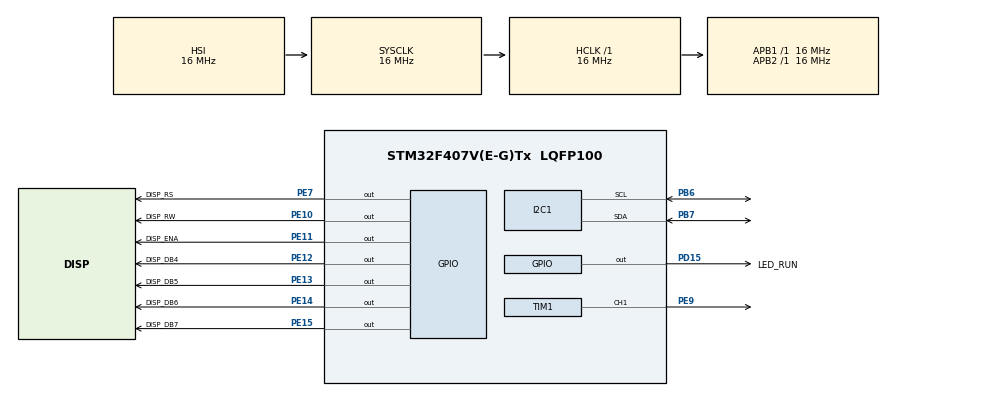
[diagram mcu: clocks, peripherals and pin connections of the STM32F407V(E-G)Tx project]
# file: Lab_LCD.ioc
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Mcu.Family=STM32F4
Mcu.Name=STM32F407V(E-G)Tx
Mcu.Package=LQFP100
NVIC.PriorityGroup=NVIC_PRIORITYGROUP_4
PA13.Mode=Serial_Wire
PA13.Signal=SYS_JTMS-SWDIO
PA14.Mode=Serial_Wire
PA14.Signal=SYS_JTCK-SWCLK
PB6.Mode=I2C
PB6.Signal=I2C1_SCL
PB7.Mode=I2C
PB7.Signal=I2C1_SDA
PD15.GPIO_Label=LED_RUN
PD15.Signal=GPIO_Output
PE10.GPIO_Label=DISP_RW
PE10.GPIO_Speed=GPIO_SPEED_FREQ_VERY_HIGH
PE10.Signal=GPIO_Output
PE11.GPIO_Label=DISP_ENA
PE11.GPIO_Speed=GPIO_SPEED_FREQ_VERY_HIGH
PE11.Signal=GPIO_Output
PE12.GPIO_Label=DISP_DB4
PE12.GPIO_Speed=GPIO_SPEED_FREQ_VERY_HIGH
PE12.Signal=GPIO_Output
PE13.GPIO_Label=DISP_DB5
PE13.GPIO_Speed=GPIO_SPEED_FREQ_VERY_HIGH
PE13.Signal=GPIO_Output
PE14.GPIO_Label=DISP_DB6
PE14.GPIO_Speed=GPIO_SPEED_FREQ_VERY_HIGH
PE14.Signal=GPIO_Output
PE15.GPIO_Label=DISP_DB7
PE15.GPIO_Speed=GPIO_SPEED_FREQ_VERY_HIGH
PE15.Signal=GPIO_Output
PE7.GPIO_Label=DISP_RS
PE7.GPIO_Speed=GPIO_SPEED_FREQ_VERY_HIGH
PE7.Signal=GPIO_Output
PE9.Signal=S_TIM1_CH1
PH0-OSC_IN.Mode=HSE-External-Oscillator
PH0-OSC_IN.Signal=RCC_OSC_IN
PH1-OSC_OUT.Mode=HSE-External-Oscillator
PH1-OSC_OUT.Signal=RCC_OSC_OUT
ProjectManager.HeapSize=0x200
ProjectManager.StackSize=0x400
ProjectManager.TargetToolchain=MDK-ARM V5.32
RCC.48MHZClocksFreq_Value=84000000
RCC.AHBFreq_Value=16000000
RCC.APB1Freq_Value=16000000
RCC.APB1TimFreq_Value=16000000
RCC.APB2Freq_Value=16000000
RCC.APB2TimFreq_Value=16000000
RCC.CortexFreq_Value=16000000
RCC.HCLKFreq_Value=16000000
RCC.HSE_VALUE=25000000
RCC.HSI_VALUE=16000000
RCC.LSE_VALUE=32768
RCC.PLLM=25
RCC.PLLN=336
RCC.PLLSourceVirtual=RCC_PLLSOURCE_HSE
RCC.SYSCLKFreq_VALUE=16000000
RCC.VCOOutputFreq_Value=336000000
SH.S_TIM1_CH1.0=TIM1_CH1,PWM Generation1 CH1
TIM1.Channel-PWM\ Generation1\ CH1=TIM_CHANNEL_1
TIM1.Period=1000-1
TIM1.Prescaler=16-1
TIM6.Prescaler=16-1
VP_TIM6_VS_ClockSourceINT.Mode=Enable_Timer
VP_TIM6_VS_OPM.Mode=OPM_bit
board=custom

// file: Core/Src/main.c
/* USER CODE BEGIN Header */
/**
  ******************************************************************************
  * @file           : main.c
  * @brief          : Main program body
  ******************************************************************************
  * @attention
  *
  * Copyright (c) 2022 STMicroelectronics.
  * All rights reserved.
  *
  * This software is licensed under terms that can be found in the LICENSE file
  * in the root directory of this software component.
  * If no LICENSE file comes with this software, it is provided AS-IS.
  *
  ******************************************************************************
  */
/* USER CODE END Header */
#include "main.h"
#include "i2c.h"
#include "tim.h"
#include "gpio.h"

/* USER CODE BEGIN Includes */
#include "lcd.h"
/* USER CODE END Includes */

void SystemClock_Config(void);

int main(void)
{

  /* MCU Configuration--------------------------------------------------------*/

  /* Reset of all peripherals, Initializes the Flash interface and the Systick. */
  HAL_Init();

  /* Configure the system clock */
  SystemClock_Config();

  /* Initialize all configured peripherals */
  MX_GPIO_Init();
  MX_TIM1_Init();
  MX_TIM6_Init();
  MX_I2C1_Init();
  /* USER CODE BEGIN 2 */
  lcd_init();
  /* USER CODE END 2 */

  /* Infinite loop */
  /* USER CODE BEGIN WHILE */
  lcd_set_cursor(0, 2);
  lcd_write_string((uint8_t *)"Hello world", 11);
  uint8_t counter = 0x30;
  while (1)
  {

    HAL_Delay(2000);
    HAL_GPIO_WritePin(LED_RUN_GPIO_Port, LED_RUN_Pin, GPIO_PIN_SET);
    /* USER CODE END WHILE */

    /* USER CODE BEGIN 3 */
    lcd_init();
    lcd_set_cursor(0, 0);
    lcd_write_string((uint8_t *)"Counter Init:", 13);
    lcd_write_string(&counter, 1);
    counter ++;
    if (counter == 0x3A)
    {
      counter = 0x30;
    }
    HAL_GPIO_WritePin(LED_RUN_GPIO_Port, LED_RUN_Pin, GPIO_PIN_RESET);
  }
  /* USER CODE END 3 */
}

void SystemClock_Config(void)
{
  RCC_OscInitTypeDef RCC_OscInitStruct = {0};
  RCC_ClkInitTypeDef RCC_ClkInitStruct = {0};

  /** Configure the main internal regulator output voltage
  */
  __HAL_RCC_PWR_CLK_ENABLE();
  __HAL_PWR_VOLTAGESCALING_CONFIG(PWR_REGULATOR_VOLTAGE_SCALE1);

  /** Initializes the RCC Oscillators according to the specified parameters
  * in the RCC_OscInitTypeDef structure.
  */
  RCC_OscInitStruct.OscillatorType = RCC_OSCILLATORTYPE_HSI;
  RCC_OscInitStruct.HSIState = RCC_HSI_ON;
  RCC_OscInitStruct.HSICalibrationValue = RCC_HSICALIBRATION_DEFAULT;
  RCC_OscInitStruct.PLL.PLLState = RCC_PLL_NONE;
  if (HAL_RCC_OscConfig(&RCC_OscInitStruct) != HAL_OK)
  {
    Error_Handler();
  }

  /** Initializes the CPU, AHB and APB buses clocks
  */
  RCC_ClkInitStruct.ClockType = RCC_CLOCKTYPE_HCLK|RCC_CLOCKTYPE_SYSCLK
                              |RCC_CLOCKTYPE_PCLK1|RCC_CLOCKTYPE_PCLK2;
  RCC_ClkInitStruct.SYSCLKSource = RCC_SYSCLKSOURCE_HSI;
  RCC_ClkInitStruct.AHBCLKDivider = RCC_SYSCLK_DIV1;
  RCC_ClkInitStruct.APB1CLKDivider = RCC_HCLK_DIV1;
  RCC_ClkInitStruct.APB2CLKDivider = RCC_HCLK_DIV1;

  if (HAL_RCC_ClockConfig(&RCC_ClkInitStruct, FLASH_LATENCY_0) != HAL_OK)
  {
    Error_Handler();
  }
}

void Error_Handler(void)
{
  __disable_irq();
  while (1)
  {
  }
}
